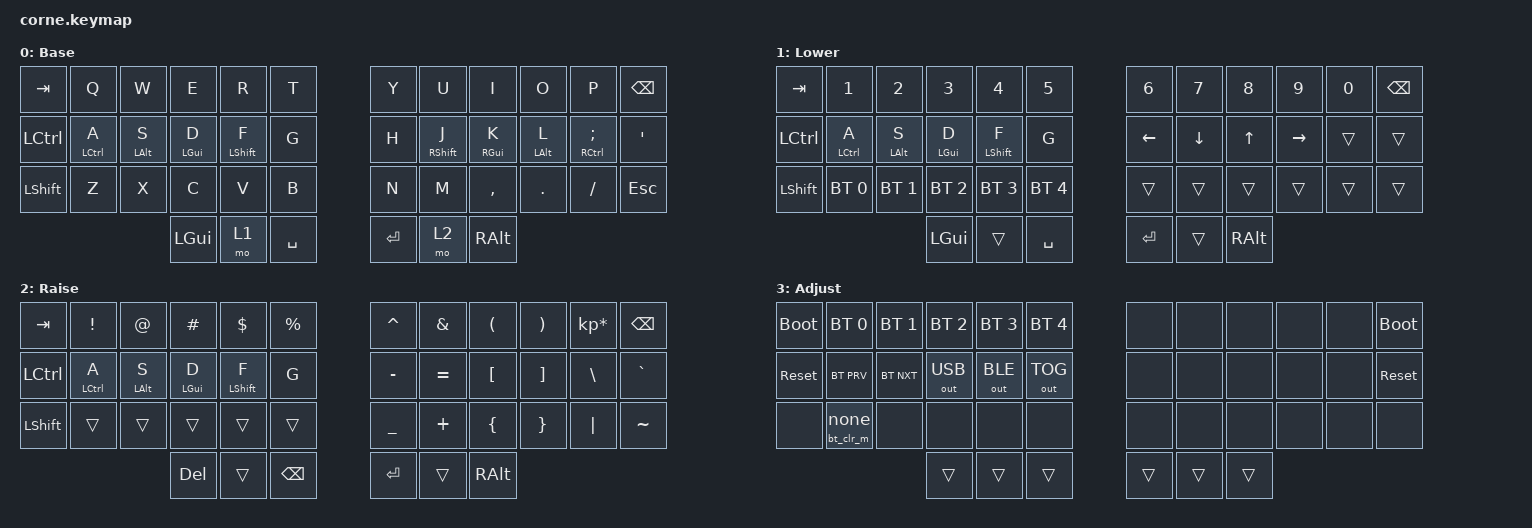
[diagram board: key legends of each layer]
/*
 * Copyright (c) 2020 The ZMK Contributors
 *
 * SPDX-License-Identifier: MIT
 */

#include <behaviors.dtsi>
#include <dt-bindings/zmk/keys.h>
#include <dt-bindings/zmk/bt.h>
#include <dt-bindings/zmk/outputs.h>

#define LOWER  1
#define RAISE  2
#define ADJUST 3

// Bluetooth profile slots (5 available: 0-4)
//   0 = personal Mac   1 = work MacBook   2 = Tab S8   3 = S22 Ultra   4 = spare

&mt {
    tapping-term-ms = <150>;
};

/ {
        macros {
                bt_clr_m: bt_clr_m {
                        compatible = "zmk,behavior-macro";
                        #binding-cells = <0>;
                        bindings = <&bt BT_CLR>;
                };
        };

        behaviors {
                // Guarded BT_CLR: tap does nothing; only a 2 s hold clears the
                // *current* slot. Only lives on the Adjust layer.
                bt_clr_hold: bt_clr_hold {
                        compatible = "zmk,behavior-hold-tap";
                        #binding-cells = <2>;
                        flavor = "tap-preferred";
                        tapping-term-ms = <2000>;
                        bindings = <&bt_clr_m>, <&none>;
                };
        };

        // Hold Lower + Raise together -> Adjust
        conditional_layers {
                compatible = "zmk,conditional-layers";
                tri_layer {
                        if-layers = <LOWER RAISE>;
                        then-layer = <ADJUST>;
                };
        };

        keymap {
                compatible = "zmk,keymap";

                default_layer {
                        display-name = "Base";
// -----------------------------------------------------------------------------------------
// |  TAB |  Q  |  W  |  E  |  R  |  T  |   |  Y  |  U   |  I  |  O  |  P  | BKSP |
// | CTRL |  A  |  S  |  D  |  F  |  G  |   |  H  |  J   |  K  |  L  |  ;  |  '   |
// | SHFT |  Z  |  X  |  C  |  V  |  B  |   |  N  |  M   |  ,  |  .  |  /  | ESC  |
//                    | GUI | LWR | SPC |   | ENT | RSE  | ALT |
                        bindings = <
   &kp TAB         &kp Q          &kp W          &kp E          &kp R          &kp T          &kp Y          &kp U          &kp I          &kp O          &kp P            &kp BSPC
   &kp LCTRL       &mt LCTRL A    &mt LALT S     &mt LGUI D     &mt LSHFT F    &kp G          &kp H          &mt RSHFT J    &mt RGUI K     &mt LALT L     &mt RCTRL SEMI  &kp SQT
   &kp LSHFT       &kp Z          &kp X          &kp C          &kp V          &kp B          &kp N          &kp M          &kp COMMA      &kp DOT        &kp FSLH         &kp ESC
                   &kp LGUI       &mo 1          &kp SPACE      &kp RET        &mo 2          &kp RALT
                        >;
                };
                lower_layer {
                        display-name = "Lower";
// -----------------------------------------------------------------------------------------
// |  TAB  |  1  |  2  |  3  |  4  |  5  |   |  6  |  7  |  8  |  9  |  0  | BKSP |
// | LCTRL |     |     |     |     |     |   | LFT | DWN |  UP | RGT |     |      |
// | SHFT  | BT0 | BT1 | BT2 | BT3 | BT4 |   |     |     |     |     |     |      |
//                     | GUI |     | SPC |   | ENT |     | ALT |
                        bindings = <
   &kp TAB     &kp N1       &kp N2       &kp N3       &kp N4       &kp N5         &kp N6   &kp N7   &kp N8 &kp N9    &kp N0 &kp BSPC
   &kp LCTRL   &mt LCTRL A  &mt LALT S   &mt LGUI D   &mt LSHFT F  &kp G          &kp LEFT &kp DOWN &kp UP &kp RIGHT &trans &trans
   &kp LSHFT   &bt BT_SEL 0 &bt BT_SEL 1 &bt BT_SEL 2 &bt BT_SEL 3 &bt BT_SEL 4   &trans   &trans   &trans &trans    &trans &trans
                                    &kp LGUI     &trans       &kp SPACE      &kp RET  &trans   &kp RALT
                        >;
                };

                raise_layer {
                        display-name = "Raise";
// -----------------------------------------------------------------------------------------
// |  TAB |  !  |  @  |  #  |  $  |  %   |   |  ^  |  &  |  (  |  )  |  *  | BKSP |
// | CTRL |     |     |     |     |      |   |  -  |  =  |  [  |  ]  |  \  |  `   |
// | SHFT |     |     |     |     |      |   |  _  |  +  |  {  |  }  | "|" |  ~   |
//                    | DEL |     | BSPC |   | ENT |     | ALT |
                        bindings = <
   &kp TAB   &kp EXCL &kp AT &kp HASH &kp DLLR &kp PRCNT   &kp CARET &kp AMPS  &kp LPAR &kp RPAR &kp KP_MULTIPLY &kp BSPC
   &kp LCTRL &mt LCTRL A &mt LALT S &mt LGUI D &mt LSHFT F &kp G &kp MINUS &kp EQUAL &kp LBKT  &kp RBKT &kp BSLH &kp GRAVE
   &kp LSHFT &trans   &trans &trans   &trans   &trans      &kp UNDER &kp PLUS  &kp LBRC        &kp RBRC &kp PIPE &kp TILDE
                             &kp DEL  &trans   &kp BSPC    &kp RET   &trans    &kp RALT
                        >;
                };

                adjust_layer {
                        display-name = "Adjust";
// Hold Lower + Raise. Top row Q..T = BT slot 0..4 (under number keys 1..5).
// -----------------------------------------------------------------------------------------
// | BOOT | BT0 | BT1 | BT2 | BT3 | BT4 |   |     |     |     |     |     | BOOT |
// | RST  | PRV | NXT | USB | BLE | TOG |   |     |     |     |     |     | RST  |
// |      |CLR* |     |     |     |     |   |     |     |     |     |     |      |
//                    |     |     |     |   |     |     |     |
// CLR* = hold 2 s to clear the current slot. BOOT/RST act on the half pressed.
                        bindings = <
   &bootloader &bt BT_SEL 0  &bt BT_SEL 1  &bt BT_SEL 2  &bt BT_SEL 3  &bt BT_SEL 4    &none &none &none &none &none &bootloader
   &sys_reset  &bt BT_PRV    &bt BT_NXT    &out OUT_USB  &out OUT_BLE  &out OUT_TOG    &none &none &none &none &none &sys_reset
   &none       &bt_clr_hold 0 0 &none      &none         &none         &none           &none &none &none &none &none &none
                             &trans   &trans   &trans      &trans    &trans    &trans
                        >;
                };

                // Empty layers that only exist in ZMK Studio builds, for trying
                // new layouts live (e.g. a numpad) without reflashing.
                extra_layer_1 {
                        display-name = "Extra 1";
                        status = "reserved";
                };
                extra_layer_2 {
                        display-name = "Extra 2";
                        status = "reserved";
                };
                extra_layer_3 {
                        display-name = "Extra 3";
                        status = "reserved";
                };
        };
};
